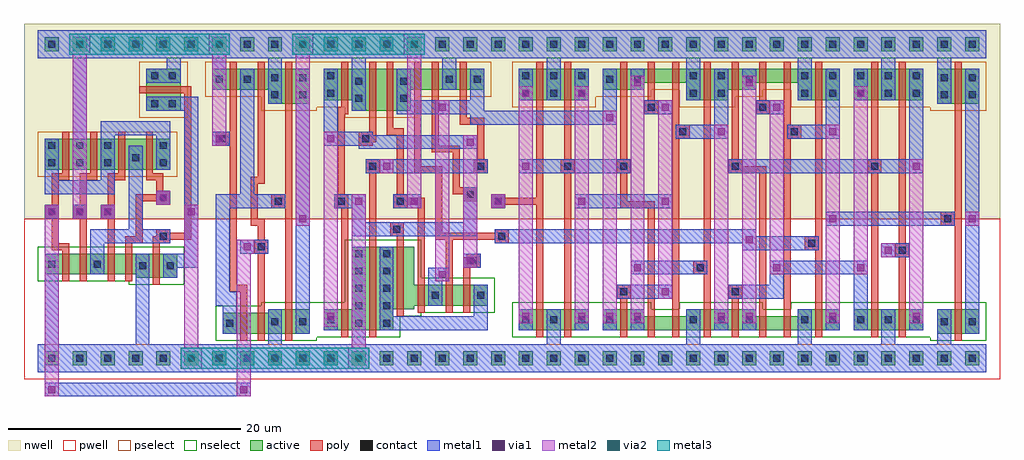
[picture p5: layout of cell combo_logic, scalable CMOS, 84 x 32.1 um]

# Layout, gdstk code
from math import pi, radians
import gdstk
lib = gdstk.Library(unit=1e-6, precision=1e-09)
def R(c, l, rs):  # rectangles x0, y0, x1, y1
    for r in rs: c.add(gdstk.rectangle(r[:2], r[2:], *l))
def A(c, l, x, y, w, h, nx, ny, dx, dy):  # array of equal rectangles
    R(c, l, [(x+i*dx, y+j*dy, x+i*dx+w, y+j*dy+h) for i in range(nx) for j in range(ny)])
contact = (25, 0)
pwell = (41, 0)
nwell = (42, 0)
active = (43, 0)
pselect = (44, 0)
nselect = (45, 0)
poly = (46, 0)
metal1 = (49, 0)
via1 = (50, 0)
metal2 = (51, 0)
via2 = (61, 0)
metal3 = (62, 0)

a22o2_1x = lib.new_cell('a22o2_1x')
A(a22o2_1x, contact, 0.3, -0.3, 0.6, 0.6, 6, 2, 2.4, 27)
A(a22o2_1x, contact, 0.3, 12.3, 0.6, 0.6, 3, 2, 2.4, 4.2)
A(a22o2_1x, contact, 0.3, 18, 0.6, 0.6, 3, 1, 2.4, 0)
R(a22o2_1x, contact, [(8.1,7.65,8.7,8.25), (10.5,7.65,11.1,8.25), (0.3,7.8,0.9,8.4), (4.2,7.8,4.8,8.4), (9.9,10.2,10.5,10.8), (9.9,13.5,10.5,14.1), (9.9,16.5,10.5,17.1), (7.5,16.95,8.1,17.55), (9.9,18,10.5,18.6), (9.15,21.6,9.75,22.2), (10.65,21.6,11.25,22.2), (9.15,24,9.75,24.6), (10.65,24,11.25,24.6)])
A(a22o2_1x, pwell, -0.9, -1.5, 3, 3, 6, 1, 2.4, 0)
R(a22o2_1x, pwell, [(-1.8,-1.8,15,12), (6,5.1,10.8,10.8), (6.6,5.1,12.6,10.8), (8.4,5.1,13.2,10.8), (-1.8,5.4,3,10.8), (-1.2,5.4,4.8,10.8), (0.3,5.4,6.3,10.8), (2.1,5.4,6.9,10.8), (2.7,5.4,8.7,10.8), (4.2,5.4,10.2,10.8), (-1.65,6.15,2.925,10.65), (-0.075,6.15,5.175,10.65), (2.175,6.15,6.75,10.65), (2.25,6.15,6.825,10.65), (3.825,6.15,9.075,10.65), (6.075,6.15,10.65,10.65), (6.15,6.15,10.725,10.65), (8.475,6.15,13.05,10.65)])
A(a22o2_1x, nwell, -1.8, 14.4, 4.8, 6.3, 3, 1, 2.4, 0)
A(a22o2_1x, nwell, -1.2, 14.4, 6, 6.3, 4, 1, 2.4, 0)
A(a22o2_1x, nwell, -0.9, 25.5, 3, 3, 6, 1, 2.4, 0)
R(a22o2_1x, nwell, [(-1.8,12,15,28.8), (5.4,14.4,10.2,20.1), (5.55,14.4,10.125,18.9), (7.8,14.4,12.6,20.7), (-1.65,14.55,2.925,19.05), (0.675,14.55,5.25,19.05), (0.75,14.55,5.325,19.05), (3.075,14.55,7.65,19.05), (3.15,14.55,7.725,19.05), (7.875,14.55,12.45,19.05), (5.475,15.15,10.05,19.65), (6.9,19.5,13.5,24.3), (8.85,19.65,13.35,24.225), (6.9,20.1,13.5,26.1), (6.9,21.9,13.5,26.7), (8.85,21.975,13.35,26.55)])
A(a22o2_1x, active, 0, -0.6, 1.2, 1.2, 6, 2, 2.4, 27)
A(a22o2_1x, active, 0, 16.2, 1.2, 2.7, 3, 1, 2.4, 0)
A(a22o2_1x, active, 0.6, 16.2, 2.4, 2.7, 4, 1, 2.4, 0)
R(a22o2_1x, active, [(7.8,6.9,9,9), (8.4,6.9,10.8,9), (10.2,6.9,11.4,9), (0,7.2,1.2,9), (0.6,7.2,3,9), (2.1,7.2,4.5,9), (3.9,7.2,5.1,9), (4.5,7.2,6.9,9), (6,7.2,8.4,9), (0.15,7.95,1.125,8.85), (1.725,7.95,3.375,8.85), (3.975,7.95,4.95,8.85), (4.05,7.95,5.025,8.85), (5.625,7.95,7.275,8.85), (7.875,7.95,8.85,8.85), (7.95,7.95,8.925,8.85), (10.275,7.95,11.25,8.85), (7.2,16.2,8.4,18.3), (7.35,16.2,8.325,17.1), (9.6,16.2,10.8,18.9), (0.15,16.35,1.125,17.25), (2.475,16.35,3.45,17.25), (2.55,16.35,3.525,17.25), (4.875,16.35,5.85,17.25), (4.95,16.35,5.925,17.25), (9.675,16.35,10.65,17.25), (7.275,16.95,8.25,17.85), (8.7,21.3,11.7,22.5), (10.65,21.45,11.55,22.425), (8.7,21.9,11.7,24.3), (8.7,23.7,11.7,24.9), (10.65,23.775,11.55,24.75)])
A(a22o2_1x, pselect, -0.6, -1.2, 2.4, 2.4, 6, 1, 2.4, 0)
A(a22o2_1x, pselect, -0.6, 15.6, 2.4, 3.9, 3, 1, 2.4, 0)
A(a22o2_1x, pselect, 0, 15.6, 3.6, 3.9, 4, 1, 2.4, 0)
R(a22o2_1x, pselect, [(6.6,15.6,9,18.9), (6.75,15.6,8.925,17.7), (9,15.6,11.4,19.5), (-0.45,15.75,1.725,17.85), (1.875,15.75,4.05,17.85), (1.95,15.75,4.125,17.85), (4.275,15.75,6.45,17.85), (4.35,15.75,6.525,17.85), (9.075,15.75,11.25,17.85), (6.675,16.35,8.85,18.45), (8.1,20.7,12.3,23.1), (10.05,20.85,12.15,23.025), (8.1,21.3,12.3,24.9), (8.1,23.1,12.3,25.5), (10.05,23.175,12.15,25.35)])
A(a22o2_1x, nselect, -0.6, 25.8, 2.4, 2.4, 6, 1, 2.4, 0)
R(a22o2_1x, nselect, [(7.2,6.3,9.6,9.6), (7.8,6.3,11.4,9.6), (9.6,6.3,12,9.6), (-0.6,6.6,1.8,9.6), (0,6.6,3.6,9.6), (1.5,6.6,5.1,9.6), (3.3,6.6,5.7,9.6), (3.9,6.6,7.5,9.6), (5.4,6.6,9,9.6), (-0.45,7.35,1.725,9.45), (1.125,7.35,3.975,9.45), (3.375,7.35,5.55,9.45), (3.45,7.35,5.625,9.45), (5.025,7.35,7.875,9.45), (7.275,7.35,9.45,9.45), (7.35,7.35,9.525,9.45), (9.675,7.35,11.85,9.45)])
A(a22o2_1x, poly, 0, 12, 1.2, 1.2, 3, 1, 2.4, 0)
A(a22o2_1x, poly, 0.6, 15.3, 1.5, 0.6, 3, 1, 2.4, 0)
A(a22o2_1x, poly, 1.5, 15.6, 0.6, 3.9, 4, 1, 2.4, 0)
R(a22o2_1x, poly, [(9.3,6.3,9.9,9.6), (1.5,6.6,2.1,9.6), (3,6.6,3.6,9.6), (5.4,6.6,6,9.6), (6.9,6.6,7.5,9.6), (0.6,9.3,1.2,12.9), (0.6,9.3,2.1,9.9), (3,9.3,3.6,12.9), (5.4,9.3,6,13.05), (6.9,9.3,7.5,10.5), (9.3,9.3,9.9,10.5), (6.9,9.9,8.4,10.5), (7.8,9.9,8.4,14.1), (9.3,9.9,10.35,10.5), (9.6,9.9,10.8,11.1), (9.75,9.9,10.35,10.8), (9.75,10.2,12.6,10.8), (12,10.2,12.6,23.4), (0.3,12.3,1.2,12.9), (0.6,12.3,1.2,15.9), (2.7,12.3,3.6,12.9), (3,12.3,3.6,15.9), (5.1,12.45,6,13.05), (5.4,12.45,6,15.9), (9.6,13.2,10.8,14.4), (7.8,13.5,10.2,14.1), (9.6,13.5,10.5,14.1), (9.6,13.5,10.2,15.9), (8.7,15.3,10.2,15.9), (8.1,22.8,12.3,23.4)])
A(a22o2_1x, metal1, -0.6, -1.2, 4.8, 2.4, 3, 1, 2.4, 0)
A(a22o2_1x, metal1, 0, -0.6, 1.2, 1.2, 6, 1, 2.4, 0)
A(a22o2_1x, metal1, 0, 16.2, 1.2, 2.7, 3, 1, 2.4, 0)
A(a22o2_1x, metal1, 0, 26.4, 1.2, 1.2, 4, 1, 2.4, 0)
R(a22o2_1x, metal1, [(-0.6,-1.2,1.8,1.2), (-0.6,-1.2,4.2,1.2), (6.6,-1.2,9.6,1.2), (6.6,-1.2,9.6,1.2), (7.2,-1.2,11.4,1.2), (9,-1.2,13.8,1.2), (0,-0.6,1.2,0.6), (0,-0.6,1.2,8.85), (7.8,-0.6,9,8.85), (12,-0.6,13.2,0.6), (7.8,6.9,9,9), (10.2,6.9,11.4,9), (0,7.2,1.2,9), (3.9,7.2,5.1,9), (3.9,7.8,5.1,11.1), (10.2,7.8,13.2,9), (12,7.8,13.2,13.2), (3.9,9.9,8.4,11.1), (7.2,9.9,10.65,11.1), (7.2,9.9,8.4,17.4), (9.6,9.9,10.8,11.1), (0,12,1.2,13.2), (0,12,1.2,13.2), (0,12,1.2,13.2), (2.4,12,3.6,13.2), (2.4,12,3.6,13.2), (2.4,12,3.6,13.2), (4.8,12,6,13.2), (4.8,12,6,13.2), (4.8,12,6,13.2), (12,12,13.2,13.2), (12,12,13.2,13.2), (12,12,13.2,22.5), (9.6,13.2,10.8,14.4), (9.6,13.2,10.8,14.4), (9.6,13.2,10.8,14.4), (0,14.1,6,15.3), (0,14.1,1.2,17.4), (4.8,14.1,6,17.4), (4.8,16.2,6,20.4), (7.2,16.2,8.4,18.3), (9.6,16.2,10.8,18.9), (9.6,16.2,10.8,20.4), (2.4,16.35,3.6,27.6), (4.8,19.2,10.8,20.4), (8.7,21.3,11.7,22.5), (10.5,21.3,13.2,22.5), (8.7,23.7,11.7,24.9), (10.5,23.7,11.7,27.6), (-0.6,25.8,1.8,28.2), (-0.6,25.8,4.2,28.2), (1.8,25.8,9,28.2), (6.6,25.8,11.4,28.2), (9,25.8,13.8,28.2), (9,25.8,12.3,28.2), (0,26.4,1.2,27.6), (4.8,26.4,8.4,27.6), (7.2,26.4,8.4,27.6), (9.6,26.4,10.8,27.6), (9.6,26.4,10.8,27.6), (12,26.4,13.2,27.6)])
A(a22o2_1x, via1, 0.3, 12.3, 0.6, 0.6, 3, 1, 2.4, 0)
R(a22o2_1x, via1, [(12.3,12.3,12.9,12.9), (9.9,13.5,10.5,14.1)])
A(a22o2_1x, metal2, 0, 12, 1.2, 1.2, 3, 1, 2.4, 0)
R(a22o2_1x, metal2, [(12,12,13.2,13.2), (9.6,13.2,10.8,14.4)])

and2_1x = lib.new_cell('and2_1x')
A(and2_1x, contact, 0.3, -0.3, 0.6, 0.6, 4, 2, 2.4, 27)
R(and2_1x, contact, [(6.6,2.7,7.2,3.3), (0.3,2.85,0.9,3.45), (2.7,2.85,3.3,3.45), (3.9,9.3,4.5,9.9), (2.4,13.2,3,13.8), (7.2,18.6,7.8,19.2), (0.3,22.35,0.9,22.95), (2.7,22.35,3.3,22.95), (5.1,23.7,5.7,24.3), (7.5,23.7,8.1,24.3), (0.3,23.85,0.9,24.45), (2.7,23.85,3.3,24.45)])
A(and2_1x, pwell, -0.9, -1.5, 3, 3, 4, 1, 2.4, 0)
R(and2_1x, pwell, [(-1.8,-1.8,10.2,12), (-1.8,0.3,3,6), (-1.2,0.3,4.8,6), (0.6,0.3,5.4,6), (1.2,0.3,7.2,5.7), (2.7,0.3,8.7,5.7), (4.5,0.3,9.3,5.7), (2.325,0.75,7.575,5.25), (0.75,0.9,5.325,5.4), (4.575,0.9,9.15,5.4), (-1.65,1.35,2.925,5.85), (0.675,1.425,5.25,5.925)])
A(and2_1x, nwell, -0.9, 25.5, 3, 3, 4, 1, 2.4, 0)
R(and2_1x, nwell, [(-1.8,12,10.2,28.8), (-1.8,20.1,3,26.7), (-1.2,20.1,4.8,26.7), (0.6,20.1,5.4,26.7), (0.675,20.1,5.25,24.6), (-1.65,20.55,2.925,25.05), (0.75,21.3,5.325,25.8), (1.2,21.3,7.2,26.7), (3,21.3,7.8,26.7), (3.075,21.3,7.65,25.8), (3.15,21.3,7.65,26.7), (3.225,21.3,7.725,26.7), (3.6,21.3,9.6,26.7), (5.4,21.3,10.2,26.7), (3.15,22.2,7.725,26.7), (5.475,22.2,10.05,26.7)])
A(and2_1x, active, 0, -0.6, 1.2, 1.2, 4, 2, 2.4, 27)
R(and2_1x, active, [(0,2.1,1.2,4.2), (0.6,2.1,3,4.2), (2.4,2.1,3.6,4.2), (3,2.1,5.4,3.9), (4.5,2.1,6.9,3.9), (6.3,2.1,7.5,3.9), (4.125,2.55,5.775,3.45), (2.55,2.7,3.525,3.6), (6.375,2.7,7.35,3.6), (0.15,3.15,1.125,4.05), (2.475,3.225,3.45,4.125), (0,21.9,1.2,24.9), (0.6,21.9,3,24.9), (2.4,21.9,3.6,24.9), (2.475,21.9,3.45,22.8), (0.15,22.35,1.125,23.25), (2.55,23.1,3.525,24), (3,23.1,5.4,24.9), (4.8,23.1,6,24.9), (4.875,23.1,5.85,24), (4.95,23.1,5.85,24.9), (5.025,23.1,5.925,24.9), (5.4,23.1,7.8,24.9), (7.2,23.1,8.4,24.9), (4.95,24,5.925,24.9), (7.275,24,8.25,24.9)])
A(and2_1x, pselect, -0.6, -1.2, 2.4, 2.4, 4, 1, 2.4, 0)
R(and2_1x, pselect, [(-0.6,21.3,1.8,25.5), (0,21.3,3.6,25.5), (1.8,21.3,4.2,25.5), (1.875,21.3,4.05,23.4), (-0.45,21.75,1.725,23.85), (1.95,22.5,4.125,24.6), (2.4,22.5,6,25.5), (4.2,22.5,6.6,25.5), (4.275,22.5,6.45,24.6), (4.35,22.5,6.45,25.5), (4.425,22.5,6.525,25.5), (4.8,22.5,8.4,25.5), (6.6,22.5,9,25.5), (4.35,23.4,6.525,25.5), (6.675,23.4,8.85,25.5)])
A(and2_1x, nselect, -0.6, 25.8, 2.4, 2.4, 4, 1, 2.4, 0)
R(and2_1x, nselect, [(-0.6,1.5,1.8,4.8), (0,1.5,3.6,4.8), (1.8,1.5,4.2,4.8), (2.4,1.5,6,4.5), (3.9,1.5,7.5,4.5), (5.7,1.5,8.1,4.5), (3.525,1.95,6.375,4.05), (1.95,2.1,4.125,4.2), (5.775,2.1,7.95,4.2), (-0.45,2.55,1.725,4.65), (1.875,2.625,4.05,4.725)])
R(and2_1x, poly, [(1.5,1.5,2.1,4.8), (3.9,1.5,4.5,4.5), (5.4,1.5,6,4.5), (3.9,4.2,4.5,9.9), (5.4,4.2,6,6.3), (1.5,4.5,2.1,13.8), (5.4,5.7,6.9,6.3), (6.3,5.7,6.9,19.2), (3.6,9,4.8,10.2), (3.9,9.3,4.5,9.9), (3.9,9.3,4.5,12), (3.9,11.4,5.1,12), (4.5,11.4,5.1,15.6), (2.1,12.9,3.3,14.1), (1.5,13.2,2.1,21.6), (1.5,13.2,3,13.8), (3.9,15,4.5,22.8), (3.9,15,5.1,15.6), (6.9,18.3,8.1,19.5), (6.3,18.6,6.9,22.8), (6.3,18.6,7.8,19.2), (1.5,21.3,2.1,25.5), (3.9,22.5,4.5,25.5), (6.3,22.5,6.9,25.5)])
A(and2_1x, metal1, -0.6, -1.2, 4.8, 2.4, 3, 1, 2.4, 0)
A(and2_1x, metal1, 0, -0.6, 1.2, 1.2, 4, 2, 2.4, 27)
R(and2_1x, metal1, [(-0.6,-1.2,1.8,1.2), (-0.6,-1.2,4.2,1.2), (2.4,-0.6,3.6,3.3), (0,2.1,1.2,4.2), (2.4,2.1,3.6,4.2), (6.3,2.1,7.5,3.9), (6.3,2.7,7.5,5.7), (0,3,1.2,12.6), (6.3,4.5,8.1,5.7), (6.9,4.5,8.1,14.1), (3.6,9,4.8,10.2), (3.6,9,6,10.2), (4.8,9,6,10.2), (0,11.4,1.2,12.6), (0,11.4,1.2,23.1), (2.1,12.9,3.3,14.1), (2.1,12.9,6,14.1), (4.8,12.9,6,24.3), (4.8,12.9,8.1,14.1), (6.9,18.3,8.1,19.5), (6.9,18.3,8.1,19.5), (7.2,18.3,8.4,19.5), (0,21.9,1.2,24.9), (2.4,21.9,3.6,24.9), (4.8,23.1,6,24.9), (7.2,23.1,8.4,24.9), (2.4,23.7,3.6,27.6), (7.2,23.7,8.4,27.6), (-0.6,25.8,1.8,28.2), (-0.6,25.8,4.2,28.2), (1.8,25.8,9,28.2), (0,26.4,1.2,27.6), (4.8,26.4,8.4,27.6), (7.2,26.4,8.4,27.6)])
R(and2_1x, via1, [(5.1,9.3,5.7,9.9), (0.3,11.7,0.9,12.3), (7.5,18.6,8.1,19.2)])
R(and2_1x, metal2, [(4.8,9,6,10.2), (0,11.4,1.2,12.6), (7.2,18.3,8.4,19.5)])

flopenr_c_1x = lib.new_cell('flopenr_c_1x')
A(flopenr_c_1x, contact, 0.3, -0.3, 0.6, 0.6, 23, 1, 2.4, 0)
A(flopenr_c_1x, contact, 2.7, 2.7, 0.6, 0.6, 1, 5, 0, 1.5)
A(flopenr_c_1x, contact, 5.1, 2.7, 0.6, 0.6, 1, 5, 0, 1.5)
A(flopenr_c_1x, contact, 17.1, 3, 0.6, 0.6, 5, 1, 2.4, 0)
A(flopenr_c_1x, contact, 31.5, 3, 0.6, 0.6, 3, 1, 2.4, 0)
A(flopenr_c_1x, contact, 41.1, 3, 0.6, 0.6, 5, 2, 2.4, 19.5)
A(flopenr_c_1x, contact, 17.1, 22.5, 0.6, 0.6, 3, 2, 2.4, 1.5)
A(flopenr_c_1x, contact, 41.1, 24, 0.6, 0.6, 5, 1, 2.4, 0)
A(flopenr_c_1x, contact, 0.3, 26.7, 0.6, 0.6, 18, 1, 2.4, 0)
A(flopenr_c_1x, contact, 41.1, 26.7, 0.6, 0.6, 6, 1, 2.4, 0)
R(flopenr_c_1x, contact, [(53.1,-0.3,53.7,0.3), (55.5,-0.3,56.1,0.3), (53.1,2.85,53.7,3.45), (55.5,2.85,56.1,3.45), (0.3,3,0.9,3.6), (9.3,5.1,9.9,5.7), (13.2,5.1,13.8,5.7), (25.5,5.4,26.1,6), (35.1,5.4,35.7,6), (32.1,7.5,32.7,8.1), (12.6,8.1,13.2,8.7), (49.5,9,50.1,9.6), (41.7,9.6,42.3,10.2), (15,10.2,15.6,10.8), (6,10.8,6.6,11.4), (53.4,11.7,54,12.3), (1.2,13.2,1.8,13.8), (6.3,13.2,6.9,13.8), (14.7,13.2,15.3,13.8), (12.3,13.8,12.9,14.4), (3.9,16.2,4.5,16.8), (13.2,16.2,13.8,16.8), (20.7,16.2,21.3,16.8), (25.5,16.2,26.1,16.8), (35.1,16.2,35.7,16.8), (47.1,16.2,47.7,16.8), (3.3,18.6,3.9,19.2), (30.6,19.2,31.2,19.8), (40.2,19.2,40.8,19.8), (27.9,21.3,28.5,21.9), (37.5,21.3,38.1,21.9), (2.7,22.05,3.3,22.65), (6.6,22.05,7.2,22.65), (53.1,22.35,53.7,22.95), (55.5,22.35,56.1,22.95), (0.3,22.5,0.9,23.1), (31.5,22.5,32.1,23.1), (33.9,22.5,34.5,23.1), (2.7,23.55,3.3,24.15), (6.6,23.55,7.2,24.15), (10.5,23.7,11.1,24.3), (12.9,23.7,13.5,24.3), (24.3,23.7,24.9,24.3), (26.7,23.7,27.3,24.3), (36.3,23.7,36.9,24.3), (53.1,23.85,53.7,24.45), (55.5,23.85,56.1,24.45), (0.3,24,0.9,24.6), (31.5,24,32.1,24.6), (33.9,24,34.5,24.6), (53.1,26.7,53.7,27.3), (55.5,26.7,56.1,27.3)])
A(flopenr_c_1x, pwell, -0.9, -1.5, 3, 3, 23, 1, 2.4, 0)
A(flopenr_c_1x, pwell, 15, 0.6, 4.8, 5.4, 5, 1, 2.4, 0)
A(flopenr_c_1x, pwell, 29.4, 0.6, 4.8, 5.4, 3, 1, 2.4, 0)
A(flopenr_c_1x, pwell, 39, 0.6, 4.8, 5.4, 5, 1, 2.4, 0)
A(flopenr_c_1x, pwell, 17.475, 1.05, 4.575, 4.5, 3, 1, 7.2, 0)
R(flopenr_c_1x, pwell, [(-1.8,-1.8,58.2,12), (51.9,-1.5,54.9,1.5), (54.3,-1.5,57.3,1.5), (51,0.3,55.8,6), (51.6,0.3,57.6,6), (53.4,0.3,58.2,6), (-1.8,0.6,3,6), (-1.2,0.6,4.8,6), (0.6,0.6,5.4,11.4), (1.2,0.6,7.2,11.4), (3,0.6,7.8,11.4), (15.6,0.6,21.6,6), (17.025,0.6,22.575,6), (18,0.6,24,6), (22.8,0.6,28.8,6), (25.2,0.6,31.2,5.4), (27.3,0.6,33.3,5.4), (30,0.6,36,6), (32.4,0.6,38.4,6), (34.8,0.6,40.8,5.4), (36.9,0.6,42.9,5.4), (39.6,0.6,45.6,6), (44.4,0.6,50.4,6), (46.8,0.6,52.8,6), (0.675,0.75,5.325,5.25), (15.15,0.75,19.725,5.25), (24.675,0.75,29.325,5.25), (26.925,0.75,31.575,5.25), (29.175,0.75,34.05,5.25), (34.275,0.75,38.925,5.25), (36.525,0.75,41.175,5.25), (46.275,0.75,50.925,5.25), (48.675,0.75,53.25,5.25), (53.475,0.75,58.05,5.25), (38.775,0.9,43.65,5.4), (-1.65,1.05,2.925,5.55), (31.875,1.05,36.525,5.55), (34.275,1.05,38.85,5.55), (43.95,1.05,48.525,5.55), (19.875,1.35,24.45,5.85), (22.35,1.35,26.925,5.85), (39.15,1.35,43.725,5.85), (41.475,1.35,46.05,5.85), (46.275,1.35,50.85,5.85), (51.15,1.35,55.725,5.85), (29.55,1.5,34.125,6), (3.6,2.4,9.6,11.4), (5.4,2.7,11.4,8.1), (7.2,2.7,12,8.1), (7.8,2.7,13.8,8.1), (9.3,2.7,15.3,8.1), (11.1,2.7,15.9,8.1), (7.275,3,11.85,7.5), (7.275,3,11.925,7.5), (5.025,3.3,9.975,7.8), (7.35,3.45,11.925,7.95), (8.925,3.45,14.175,7.95), (11.175,3.45,15.75,7.95), (0.75,3.75,5.325,8.25), (3.075,4.05,7.65,8.55), (3.075,4.05,7.725,8.55)])
A(flopenr_c_1x, nwell, 15, 20.4, 4.8, 6.3, 3, 1, 2.4, 0)
A(flopenr_c_1x, nwell, 39, 20.4, 4.8, 6.3, 5, 1, 2.4, 0)
A(flopenr_c_1x, nwell, -0.9, 25.5, 3, 3, 18, 1, 2.4, 0)
A(flopenr_c_1x, nwell, 39.9, 25.5, 3, 3, 6, 1, 2.4, 0)
R(flopenr_c_1x, nwell, [(-1.8,12,58.2,28.8), (0.6,19.5,5.4,26.7), (1.2,19.5,7.2,26.7), (2.7,19.5,8.7,26.7), (4.5,19.5,9.3,26.7), (51,20.1,55.8,26.7), (51.15,20.1,55.725,24.6), (51.6,20.1,57.6,26.7), (53.4,20.1,58.2,26.7), (-1.8,20.4,3,26.7), (-1.2,20.4,4.8,26.7), (15.6,20.4,21.6,26.7), (16.575,20.4,23.025,26.7), (18,20.4,24,26.7), (29.4,20.4,34.2,26.7), (30,20.4,36,26.7), (31.8,20.4,36.6,26.7), (39.6,20.4,45.6,26.7), (44.4,20.4,50.4,26.7), (46.8,20.4,52.8,26.7), (43.95,20.85,48.525,25.35), (2.325,21,7.575,25.5), (4.575,21,9.15,25.5), (53.475,21,58.05,25.5), (0.675,21.15,5.325,25.65), (0.75,21.15,5.325,25.65), (41.475,21.15,46.05,25.65), (46.275,21.15,50.85,25.65), (48.675,21.15,53.25,25.65), (5.1,21.3,11.1,26.7), (6.6,21.3,12.6,26.7), (8.4,21.3,13.2,26.7), (9,21.3,15,26.7), (10.8,21.3,15.6,26.7), (22.2,21.3,27,26.7), (22.8,21.3,28.8,26.7), (24.6,21.3,29.4,26.7), (31.875,21.3,36.525,25.8), (32.4,21.3,38.4,26.7), (34.2,21.3,39,26.7), (-1.65,21.45,2.925,25.95), (19.875,21.45,24.45,25.95), (4.575,21.6,9.225,26.1), (6.225,21.75,11.475,26.25), (10.875,21.75,15.45,26.25), (15.15,21.75,19.725,26.25), (17.475,21.75,22.05,26.25), (31.875,21.75,36.45,26.25), (34.275,21.75,38.85,26.25), (25.2,21.9,31.2,26.7), (27.3,21.9,33.3,26.7), (29.175,21.9,34.125,26.4), (31.95,21.9,36.525,26.4), (34.8,21.9,40.8,26.7), (36.9,21.9,42.9,26.7), (38.775,21.9,43.725,26.4), (8.475,22.05,13.05,26.55), (8.55,22.05,13.125,26.55), (24.675,22.05,29.25,26.55), (26.925,22.05,31.575,26.55), (29.175,22.05,34.05,26.55), (34.275,22.05,38.925,26.55), (36.525,22.05,41.175,26.55), (38.775,22.05,43.65,26.55), (46.275,22.05,50.925,26.55), (22.35,22.2,26.925,26.7), (24.675,22.2,29.325,26.7), (51.9,25.5,54.9,28.5), (54.3,25.5,57.3,28.5)])
A(flopenr_c_1x, active, 0, -0.6, 1.2, 1.2, 23, 1, 2.4, 0)
A(flopenr_c_1x, active, 16.8, 2.4, 1.2, 1.8, 5, 1, 2.4, 0)
A(flopenr_c_1x, active, 31.2, 2.4, 1.2, 1.8, 3, 1, 2.4, 0)
A(flopenr_c_1x, active, 40.8, 2.4, 1.2, 1.8, 5, 1, 2.4, 0)
A(flopenr_c_1x, active, 19.275, 2.85, 0.975, 0.9, 3, 1, 7.2, 0)
A(flopenr_c_1x, active, 16.8, 22.2, 1.2, 2.7, 3, 1, 2.4, 0)
A(flopenr_c_1x, active, 40.8, 22.2, 1.2, 2.7, 5, 1, 2.4, 0)
A(flopenr_c_1x, active, 0, 26.4, 1.2, 1.2, 18, 1, 2.4, 0)
A(flopenr_c_1x, active, 40.8, 26.4, 1.2, 1.2, 6, 1, 2.4, 0)
R(flopenr_c_1x, active, [(52.8,-0.6,54,0.6), (55.2,-0.6,56.4,0.6), (52.8,2.1,54,4.2), (53.4,2.1,55.8,4.2), (55.2,2.1,56.4,4.2), (0,2.4,1.2,4.2), (0.6,2.4,3,4.2), (2.4,2.4,3.6,9.6), (3,2.4,5.4,9.6), (4.8,2.4,6,9.6), (17.4,2.4,19.8,4.2), (18.825,2.4,20.775,4.2), (19.8,2.4,22.2,4.2), (24.6,2.4,27,4.2), (27,2.4,29.4,3.6), (29.1,2.4,31.5,3.6), (31.8,2.4,34.2,4.2), (34.2,2.4,36.6,4.2), (36.6,2.4,39,3.6), (38.7,2.4,41.1,3.6), (41.4,2.4,43.8,4.2), (46.2,2.4,48.6,4.2), (48.6,2.4,51,4.2), (2.475,2.55,3.525,3.45), (16.95,2.55,17.925,3.45), (26.475,2.55,27.525,3.45), (28.725,2.55,29.775,3.45), (30.975,2.55,32.25,3.45), (36.075,2.55,37.125,3.45), (38.325,2.55,39.375,3.45), (48.075,2.55,49.125,3.45), (50.475,2.55,51.45,3.45), (55.275,2.55,56.25,3.45), (40.575,2.7,41.85,3.6), (0.15,2.85,1.125,3.75), (33.675,2.85,34.725,3.75), (36.075,2.85,37.05,3.75), (45.75,2.85,46.725,3.75), (21.675,3.15,22.65,4.05), (24.15,3.15,25.125,4.05), (40.95,3.15,41.925,4.05), (43.275,3.15,44.25,4.05), (48.075,3.15,49.05,4.05), (52.95,3.15,53.925,4.05), (31.35,3.3,32.325,4.2), (5.4,4.2,7.8,9.6), (7.2,4.5,9.6,6.3), (9,4.5,10.2,6.3), (9.6,4.5,12,6.3), (11.1,4.5,13.5,6.3), (12.9,4.5,14.1,6.3), (9.075,4.8,10.05,5.7), (9.075,4.8,10.125,5.7), (6.825,5.1,8.175,6), (9.15,5.25,10.125,6.15), (10.725,5.25,12.375,6.15), (12.975,5.25,13.95,6.15), (2.55,5.55,3.525,6.45), (4.875,5.85,5.85,6.75), (4.875,5.85,5.925,6.75), (2.4,21.3,3.6,24.9), (3,21.3,5.4,24.9), (4.5,21.3,6.9,24.9), (6.3,21.3,7.5,24.9), (52.8,21.9,54,24.9), (52.95,21.9,53.925,22.8), (53.4,21.9,55.8,24.9), (55.2,21.9,56.4,24.9), (0,22.2,1.2,24.9), (0.6,22.2,3,24.9), (17.4,22.2,19.8,24.9), (18.375,22.2,21.225,24.9), (19.8,22.2,22.2,24.9), (31.2,22.2,32.4,24.9), (31.8,22.2,34.2,24.9), (33.6,22.2,34.8,24.9), (41.4,22.2,43.8,24.9), (46.2,22.2,48.6,24.9), (48.6,22.2,51,24.9), (45.75,22.65,46.725,23.55), (4.125,22.8,5.775,23.7), (6.375,22.8,7.35,23.7), (55.275,22.8,56.25,23.7), (2.475,22.95,3.525,23.85), (2.55,22.95,3.525,23.85), (43.275,22.95,44.25,23.85), (48.075,22.95,49.05,23.85), (50.475,22.95,51.45,23.85), (6.9,23.1,9.3,24.9), (8.4,23.1,10.8,24.9), (10.2,23.1,11.4,24.9), (10.8,23.1,13.2,24.9), (12.6,23.1,13.8,24.9), (24,23.1,25.2,24.9), (24.6,23.1,27,24.9), (26.4,23.1,27.6,24.9), (33.675,23.1,34.725,24), (34.2,23.1,36.6,24.9), (36,23.1,37.2,24.9), (0.15,23.25,1.125,24.15), (21.675,23.25,22.65,24.15), (6.375,23.4,7.425,24.3), (8.025,23.55,9.675,24.45), (12.675,23.55,13.65,24.45), (16.95,23.55,17.925,24.45), (19.275,23.55,20.25,24.45), (33.675,23.55,34.65,24.45), (36.075,23.55,37.05,24.45), (27,23.7,29.4,24.9), (29.1,23.7,31.5,24.9), (30.975,23.7,32.325,24.6), (33.75,23.7,34.725,24.6), (36.6,23.7,39,24.9), (38.7,23.7,41.1,24.9), (40.575,23.7,41.925,24.6), (10.275,23.85,11.25,24.75), (10.35,23.85,11.325,24.75), (26.475,23.85,27.45,24.75), (28.725,23.85,29.775,24.75), (30.975,23.85,32.25,24.75), (36.075,23.85,37.125,24.75), (38.325,23.85,39.375,24.75), (40.575,23.85,41.85,24.75), (48.075,23.85,49.125,24.75), (24.15,24,25.125,24.9), (26.475,24,27.525,24.9), (52.8,26.4,54,27.6), (55.2,26.4,56.4,27.6)])
A(flopenr_c_1x, pselect, -0.6, -1.2, 2.4, 2.4, 23, 1, 2.4, 0)
A(flopenr_c_1x, pselect, 16.2, 21.6, 2.4, 3.9, 3, 1, 2.4, 0)
A(flopenr_c_1x, pselect, 40.2, 21.6, 2.4, 3.9, 5, 1, 2.4, 0)
R(flopenr_c_1x, pselect, [(52.2,-1.2,54.6,1.2), (54.6,-1.2,57,1.2), (1.8,20.7,4.2,25.5), (2.4,20.7,6,25.5), (3.9,20.7,7.5,25.5), (5.7,20.7,8.1,25.5), (52.2,21.3,54.6,25.5), (52.35,21.3,54.525,23.4), (52.8,21.3,56.4,25.5), (54.6,21.3,57,25.5), (-0.6,21.6,1.8,25.5), (0,21.6,3.6,25.5), (16.8,21.6,20.4,25.5), (17.775,21.6,21.825,25.5), (19.2,21.6,22.8,25.5), (30.6,21.6,33,25.5), (31.2,21.6,34.8,25.5), (33,21.6,35.4,25.5), (40.8,21.6,44.4,25.5), (45.6,21.6,49.2,25.5), (48,21.6,51.6,25.5), (45.15,22.05,47.325,24.15), (3.525,22.2,6.375,24.3), (5.775,22.2,7.95,24.3), (54.675,22.2,56.85,24.3), (1.875,22.35,4.125,24.45), (1.95,22.35,4.125,24.45), (42.675,22.35,44.85,24.45), (47.475,22.35,49.65,24.45), (49.875,22.35,52.05,24.45), (6.3,22.5,9.9,25.5), (7.8,22.5,11.4,25.5), (9.6,22.5,12,25.5), (10.2,22.5,13.8,25.5), (12,22.5,14.4,25.5), (23.4,22.5,25.8,25.5), (24,22.5,27.6,25.5), (25.8,22.5,28.2,25.5), (33.075,22.5,35.325,24.6), (33.6,22.5,37.2,25.5), (35.4,22.5,37.8,25.5), (-0.45,22.65,1.725,24.75), (21.075,22.65,23.25,24.75), (5.775,22.8,8.025,24.9), (7.425,22.95,10.275,25.05), (12.075,22.95,14.25,25.05), (16.35,22.95,18.525,25.05), (18.675,22.95,20.85,25.05), (33.075,22.95,35.25,25.05), (35.475,22.95,37.65,25.05), (26.4,23.1,30,25.5), (28.5,23.1,32.1,25.5), (30.375,23.1,32.925,25.2), (33.15,23.1,35.325,25.2), (36,23.1,39.6,25.5), (38.1,23.1,41.7,25.5), (39.975,23.1,42.525,25.2), (9.675,23.25,11.85,25.35), (9.75,23.25,11.925,25.35), (25.875,23.25,28.05,25.35), (28.125,23.25,30.375,25.35), (30.375,23.25,32.85,25.35), (35.475,23.25,37.725,25.35), (37.725,23.25,39.975,25.35), (39.975,23.25,42.45,25.35), (47.475,23.25,49.725,25.35), (23.55,23.4,25.725,25.5), (25.875,23.4,28.125,25.5)])
A(flopenr_c_1x, nselect, 16.2, 1.8, 2.4, 3, 5, 1, 2.4, 0)
A(flopenr_c_1x, nselect, 30.6, 1.8, 2.4, 3, 3, 1, 2.4, 0)
A(flopenr_c_1x, nselect, 40.2, 1.8, 2.4, 3, 5, 1, 2.4, 0)
A(flopenr_c_1x, nselect, 18.675, 2.25, 2.175, 2.1, 3, 1, 7.2, 0)
A(flopenr_c_1x, nselect, -0.6, 25.8, 2.4, 2.4, 18, 1, 2.4, 0)
A(flopenr_c_1x, nselect, 40.2, 25.8, 2.4, 2.4, 6, 1, 2.4, 0)
R(flopenr_c_1x, nselect, [(52.2,1.5,54.6,4.8), (52.8,1.5,56.4,4.8), (54.6,1.5,57,4.8), (-0.6,1.8,1.8,4.8), (0,1.8,3.6,4.8), (1.8,1.8,4.2,10.2), (2.4,1.8,6,10.2), (4.2,1.8,6.6,10.2), (16.8,1.8,20.4,4.8), (18.225,1.8,21.375,4.8), (19.2,1.8,22.8,4.8), (24,1.8,27.6,4.8), (26.4,1.8,30,4.2), (28.5,1.8,32.1,4.2), (31.2,1.8,34.8,4.8), (33.6,1.8,37.2,4.8), (36,1.8,39.6,4.2), (38.1,1.8,41.7,4.2), (40.8,1.8,44.4,4.8), (45.6,1.8,49.2,4.8), (48,1.8,51.6,4.8), (1.875,1.95,4.125,4.05), (16.35,1.95,18.525,4.05), (25.875,1.95,28.125,4.05), (28.125,1.95,30.375,4.05), (30.375,1.95,32.85,4.05), (35.475,1.95,37.725,4.05), (37.725,1.95,39.975,4.05), (47.475,1.95,49.725,4.05), (49.875,1.95,52.05,4.05), (54.675,1.95,56.85,4.05), (39.975,2.1,42.45,4.2), (-0.45,2.25,1.725,4.35), (33.075,2.25,35.325,4.35), (35.475,2.25,37.65,4.35), (45.15,2.25,47.325,4.35), (21.075,2.55,23.25,4.65), (23.55,2.55,25.725,4.65), (40.35,2.55,42.525,4.65), (42.675,2.55,44.85,4.65), (47.475,2.55,49.65,4.65), (52.35,2.55,54.525,4.65), (30.75,2.7,32.925,4.8), (4.8,3.6,8.4,10.2), (6.6,3.9,10.2,6.9), (8.4,3.9,10.8,6.9), (9,3.9,12.6,6.9), (10.5,3.9,14.1,6.9), (12.3,3.9,14.7,6.9), (8.475,4.2,10.65,6.3), (8.475,4.2,10.725,6.3), (6.225,4.5,8.775,6.6), (8.55,4.65,10.725,6.75), (10.125,4.65,12.975,6.75), (12.375,4.65,14.55,6.75), (1.95,4.95,4.125,7.05), (4.275,5.25,6.45,7.35), (4.275,5.25,6.525,7.35), (52.2,25.8,54.6,28.2), (54.6,25.8,57,28.2)])
R(flopenr_c_1x, poly, [(54.3,1.5,54.9,4.8), (1.5,1.8,2.1,4.8), (3.9,1.8,4.5,10.2), (18.3,1.8,18.9,4.8), (20.7,1.8,21.3,4.8), (25.5,1.8,26.1,4.8), (27.9,1.8,28.5,4.2), (30,1.8,30.6,4.2), (32.7,1.8,33.3,4.8), (35.1,1.8,35.7,4.8), (37.5,1.8,38.1,4.2), (39.6,1.8,40.2,4.2), (42.3,1.8,42.9,4.8), (47.1,1.8,47.7,4.8), (49.5,1.8,50.1,4.8), (6.3,3.6,6.9,10.2), (8.1,3.9,8.7,6.9), (10.5,3.9,11.1,6.9), (12,3.9,12.6,6.9), (27.9,3.9,28.5,13.5), (30,3.9,30.6,19.8), (37.5,3.9,38.1,16.5), (39.6,3.9,40.2,19.8), (1.5,4.5,2.1,13.8), (18.3,4.5,18.9,13.8), (20.7,4.5,21.3,16.8), (25.5,4.5,26.1,6), (32.7,4.5,33.3,8.1), (35.1,4.5,35.7,6), (42.3,4.5,42.9,10.2), (47.1,4.5,47.7,16.8), (49.5,4.5,50.1,9.6), (54.3,4.5,54.9,12.3), (25.2,5.1,26.4,6.3), (34.8,5.1,36,6.3), (8.1,6.6,8.7,13.8), (10.5,6.6,11.1,10.8), (12,6.6,12.6,8.7), (31.8,7.2,33,8.4), (32.1,7.5,33.3,8.1), (32.7,7.5,33.3,21.9), (12.3,7.8,13.5,9), (12,8.1,13.2,8.7), (49.2,8.7,50.4,9.9), (49.5,9,50.1,21.9), (41.4,9.3,42.6,10.5), (41.7,9.6,42.9,10.2), (42.3,9.6,42.9,21.9), (3.9,9.9,4.5,16.8), (6.3,9.9,6.9,11.4), (14.7,9.9,15.9,11.1), (9.6,10.2,10.2,16.5), (9.6,10.2,11.1,10.8), (10.5,10.2,15.6,10.8), (5.7,10.5,6.9,11.7), (6,10.8,6.9,11.4), (53.1,11.4,54.3,12.6), (53.4,11.7,54.9,12.3), (54.3,11.7,54.9,21.6), (0.9,12.9,2.1,14.1), (6,12.9,7.2,14.1), (14.4,12.9,15.6,14.1), (25.5,12.9,28.5,13.5), (25.5,12.9,26.1,16.8), (25.5,12.9,26.1,22.8), (1.2,13.2,2.1,13.8), (1.2,13.2,1.8,21.6), (6.3,13.2,6.9,19.8), (6.3,13.2,8.7,13.8), (14.7,13.2,18.9,13.8), (18.3,13.2,18.9,21.9), (12,13.5,13.2,14.7), (12.3,13.8,12.9,14.7), (11.1,14.1,11.7,18.3), (11.1,14.1,12.9,14.7), (3.6,15.9,4.8,17.1), (7.8,15.9,10.2,16.5), (7.8,15.9,8.4,22.8), (12.9,15.9,14.1,17.1), (20.4,15.9,21.6,17.1), (25.2,15.9,26.4,17.1), (34.8,15.9,36,17.1), (35.1,15.9,38.1,16.5), (35.1,15.9,35.7,16.8), (46.8,15.9,48,17.1), (13.2,16.2,13.8,20.7), (20.7,16.2,21.3,21.9), (35.1,16.2,35.7,22.8), (47.1,16.2,47.7,21.9), (9.3,17.7,11.7,18.3), (9.3,17.7,9.9,22.8), (3,18.3,4.2,19.5), (3.3,18.6,4.5,19.2), (3.9,18.6,4.5,21), (30.3,18.9,31.5,20.1), (39.9,18.9,41.1,20.1), (5.4,19.2,6,21), (5.4,19.2,6.9,19.8), (30,19.2,30.6,23.4), (30,19.2,31.2,19.8), (39.6,19.2,40.2,23.4), (39.6,19.2,40.8,19.8), (11.7,20.1,13.8,20.7), (11.7,20.1,12.3,22.8), (3.9,20.7,4.5,25.5), (5.4,20.7,6,25.5), (1.2,21,2.1,21.6), (1.5,21,2.1,21.9), (27.6,21,28.8,22.2), (37.2,21,38.4,22.2), (27.9,21.3,28.5,23.4), (37.5,21.3,38.1,23.4), (54.3,21.3,54.9,25.5), (1.5,21.6,2.1,25.5), (18.3,21.6,18.9,25.5), (20.7,21.6,21.3,25.5), (32.7,21.6,33.3,25.5), (42.3,21.6,42.9,25.5), (47.1,21.6,47.7,25.5), (49.5,21.6,50.1,25.5), (7.8,22.5,8.4,25.5), (9.3,22.5,9.9,25.5), (11.7,22.5,12.3,25.5), (25.5,22.5,26.1,25.5), (35.1,22.5,35.7,25.5), (27.9,23.1,28.5,25.5), (30,23.1,30.6,25.5), (37.5,23.1,38.1,25.5), (39.6,23.1,40.2,25.5)])
A(flopenr_c_1x, metal1, -0.6, -1.2, 4.8, 2.4, 18, 1, 2.4, 0)
A(flopenr_c_1x, metal1, 40.2, -1.2, 4.8, 2.4, 4, 2, 2.4, 27)
A(flopenr_c_1x, metal1, 47.4, -1.2, 4.8, 2.4, 3, 2, 2.4, 27)
A(flopenr_c_1x, metal1, 0, -0.6, 1.2, 1.2, 23, 1, 2.4, 0)
A(flopenr_c_1x, metal1, 16.8, 2.4, 1.2, 1.8, 5, 1, 2.4, 0)
A(flopenr_c_1x, metal1, 31.2, 2.4, 1.2, 1.8, 3, 1, 2.4, 0)
A(flopenr_c_1x, metal1, 40.8, 2.4, 1.2, 1.8, 5, 1, 2.4, 0)
A(flopenr_c_1x, metal1, 14.4, 12.9, 1.2, 1.2, 3, 1, 7.2, 0)
A(flopenr_c_1x, metal1, 16.8, 22.2, 1.2, 2.7, 3, 1, 2.4, 0)
A(flopenr_c_1x, metal1, 40.8, 22.2, 1.2, 2.7, 5, 1, 2.4, 0)
A(flopenr_c_1x, metal1, -0.6, 25.8, 4.8, 2.4, 3, 1, 7.2, 0)
A(flopenr_c_1x, metal1, 16.2, 25.8, 4.8, 2.4, 3, 1, 2.4, 0)
A(flopenr_c_1x, metal1, 28.2, 25.8, 4.8, 2.4, 6, 1, 2.4, 0)
A(flopenr_c_1x, metal1, 0, 26.4, 1.2, 1.2, 4, 1, 2.4, 0)
A(flopenr_c_1x, metal1, 9.6, 26.4, 1.2, 1.2, 14, 1, 2.4, 0)
A(flopenr_c_1x, metal1, 40.8, 26.4, 1.2, 1.2, 5, 1, 2.4, 0)
R(flopenr_c_1x, metal1, [(-0.6,-1.2,4.2,1.2), (-0.6,-1.2,1.8,1.2), (13.8,-1.2,16.8,1.2), (18.6,-1.2,33,1.2), (21,-1.2,33,1.2), (30.6,-1.2,34.2,1.2), (2.4,-0.6,3.6,3.6), (19.2,-0.6,20.4,3.6), (31.2,-0.6,32.4,3.6), (40.8,-0.6,42,3.6), (48,-0.6,49.2,3.6), (52.8,-0.6,54,0.6), (52.8,-0.6,54,0.6), (52.8,-0.6,54,3.3), (55.2,-0.6,56.4,0.6), (52.8,2.1,54,4.2), (55.2,2.1,56.4,4.2), (0,2.4,1.2,4.2), (2.4,2.4,3.6,9.6), (4.8,2.4,14.1,3.6), (4.8,2.4,6,9.6), (12.9,2.4,14.1,5.7), (0,2.7,1.2,4.2), (16.8,2.7,18,4.2), (26.4,2.7,27.6,4.2), (0,3,1.2,4.2), (16.8,3,18,4.2), (21.6,3,22.8,4.2), (21.6,3,22.8,4.2), (24,3,25.2,4.2), (24,3,25.2,4.2), (26.4,3,27.6,4.2), (33.6,3,34.8,4.2), (33.6,3,34.8,4.2), (36,3,37.2,4.2), (36,3,37.2,4.2), (43.2,3,44.4,4.2), (43.2,3,44.4,4.2), (45.6,3,46.8,8.4), (50.4,3,51.6,4.2), (50.4,3,51.6,4.2), (55.2,3,56.4,12.6), (9,4.5,10.2,6.3), (12.9,4.5,14.1,6.3), (9,4.8,10.2,7.8), (25.2,5.1,26.4,6.3), (25.2,5.1,30,6.3), (28.8,5.1,30,6.3), (34.8,5.1,36,6.3), (34.8,5.1,39.6,6.3), (38.4,5.1,39.6,8.4), (9,6.6,10.8,7.8), (9.6,6.6,10.8,7.8), (26.4,7.2,27.6,8.4), (26.4,7.2,33,8.4), (31.8,7.2,33,8.4), (38.4,7.2,39.6,8.4), (38.4,7.2,46.8,8.4), (45.6,7.2,46.8,8.4), (12,7.8,13.2,9), (12,7.8,13.5,9), (12.3,7.8,13.5,9), (48,8.7,49.2,9.9), (48,8.7,50.4,9.9), (49.2,8.7,50.4,9.9), (36,9.3,42.6,10.5), (41.4,9.3,42.6,10.5), (36,9.6,37.2,10.8), (14.7,9.9,15.9,11.1), (14.7,9.9,37.2,11.1), (2.4,10.5,3.6,14.1), (2.4,10.5,6.9,11.7), (5.7,10.5,6.9,11.7), (5.7,10.5,13.2,11.7), (12,10.5,13.2,14.7), (43.2,11.4,44.4,12.6), (43.2,11.4,54.3,12.6), (53.1,11.4,54.3,12.6), (55.2,11.4,56.4,12.6), (55.2,11.4,56.4,23.1), (0.9,12.9,2.1,14.1), (0.9,12.9,3.6,14.1), (2.4,12.9,3.6,14.1), (6,12.9,7.2,14.1), (6,12.9,8.4,14.1), (7.2,12.9,8.4,14.1), (14.4,12.9,15.6,14.1), (14.4,12.9,15.6,14.1), (21.6,12.9,30,14.1), (12,13.5,13.2,14.7), (3.6,15.9,4.8,17.1), (3.6,15.9,6,17.1), (3.6,15.9,14.1,17.1), (4.8,15.9,6,17.1), (12.9,15.9,14.1,17.1), (16.8,15.9,18,17.1), (16.8,15.9,21.6,17.1), (20.4,15.9,21.6,17.1), (20.4,15.9,26.4,17.1), (25.2,15.9,26.4,17.1), (34.8,15.9,36,17.1), (34.8,15.9,48,17.1), (46.8,15.9,48,17.1), (46.8,15.9,51.6,17.1), (50.4,15.9,51.6,17.1), (50.4,15.9,51.6,23.4), (3,18,13.2,19.2), (3,18,4.2,19.5), (12,18,13.2,19.2), (0,18.3,1.2,19.5), (0,18.3,4.2,19.5), (0,18.3,1.2,23.4), (3,18.3,4.2,19.5), (30.3,18.9,31.5,20.1), (30.3,18.9,34.8,20.1), (33.6,18.9,34.8,20.1), (33.6,18.9,34.8,23.4), (39.9,18.9,41.1,20.1), (39.9,18.9,44.4,20.1), (43.2,18.9,44.4,20.1), (43.2,18.9,44.4,23.4), (12.6,20.1,13.8,22.2), (12.6,20.1,25.2,21.3), (24,20.1,25.2,21.3), (24,20.1,25.2,24.3), (6.3,21,10.8,22.2), (6.3,21,7.5,22.5), (9.6,21,10.8,22.2), (9.6,21,13.8,22.2), (12.6,21,13.8,24.6), (27.6,21,28.8,22.2), (27.6,21,30,22.2), (28.8,21,30,22.2), (37.2,21,38.4,22.2), (37.2,21,39.6,22.2), (38.4,21,39.6,22.2), (2.4,21.3,3.6,24.9), (6.3,21.3,7.5,24.9), (52.8,21.9,54,24.9), (55.2,21.9,56.4,24.9), (0,22.2,1.2,24.9), (16.8,22.2,18,23.4), (16.8,22.2,18,24.15), (21.6,22.2,22.8,23.4), (21.6,22.2,22.8,23.4), (31.2,22.2,32.4,24.9), (33.6,22.2,34.8,24.9), (45.6,22.2,46.8,23.4), (45.6,22.2,46.8,23.4), (10.2,23.1,11.4,24.9), (12.6,23.1,13.8,24.9), (24,23.1,25.2,24.9), (26.4,23.1,27.6,24.3), (26.4,23.1,27.6,24.3), (26.4,23.1,27.6,24.9), (36,23.1,37.2,24.3), (36,23.1,37.2,24.3), (36,23.1,37.2,24.9), (2.4,23.7,3.6,27.6), (10.2,23.7,11.4,27.6), (19.2,23.7,20.4,27.6), (31.2,23.7,32.4,27.6), (40.8,23.7,42,27.6), (48,23.7,49.2,27.6), (52.8,23.7,54,27.6), (-0.6,25.8,1.8,28.2), (1.8,25.8,9,28.2), (9,25.8,12,28.2), (9.6,25.8,16.2,28.2), (14.4,25.8,18.6,28.2), (18.6,25.8,30.6,28.2), (23.4,25.8,29.7,28.2), (25.8,25.8,29.7,28.2), (27.3,25.8,30.6,28.2), (30.6,25.8,49.8,28.2), (35.4,25.8,52.2,28.2), (37.8,25.8,49.8,28.2), (40.2,25.8,57,28.2), (47.4,25.8,57,28.2), (0,26.4,1.2,27.6), (4.8,26.4,8.4,27.6), (7.2,26.4,8.4,27.6), (9.6,26.4,10.8,27.6), (9.6,26.4,13.2,27.6), (50.4,26.4,51.6,27.6), (52.8,26.4,54,27.6), (52.8,26.4,54,27.6), (52.8,26.4,54,27.6), (55.2,26.4,56.4,27.6)])
A(flopenr_c_1x, via1, 21.9, 3.3, 0.6, 0.6, 3, 1, 2.4, 0)
A(flopenr_c_1x, via1, 36.3, 3.3, 0.6, 0.6, 3, 1, 7.2, 0)
A(flopenr_c_1x, via1, 7.5, 13.2, 0.6, 0.6, 4, 1, 7.2, 0)
R(flopenr_c_1x, via1, [(0.3,3.3,0.9,3.9), (17.1,3.3,17.7,3.9), (33.9,3.3,34.5,3.9), (29.1,5.4,29.7,6), (9.9,6.9,10.5,7.5), (26.7,7.5,27.3,8.1), (38.7,7.5,39.3,8.1), (45.9,7.5,46.5,8.1), (12.3,8.1,12.9,8.7), (48.3,9,48.9,9.6), (36.3,9.9,36.9,10.5), (43.5,11.7,44.1,12.3), (55.5,11.7,56.1,12.3), (2.7,13.2,3.3,13.8), (5.1,16.2,5.7,16.8), (17.1,16.2,17.7,16.8), (50.7,16.2,51.3,16.8), (12.3,18.3,12.9,18.9), (0.3,18.6,0.9,19.2), (33.9,19.2,34.5,19.8), (43.5,19.2,44.1,19.8), (24.3,20.4,24.9,21), (9.9,21.3,10.5,21.9), (29.1,21.3,29.7,21.9), (38.7,21.3,39.3,21.9), (17.1,22.5,17.7,23.1), (21.9,22.5,22.5,23.1), (45.9,22.5,46.5,23.1), (26.7,23.4,27.3,24), (36.3,23.4,36.9,24)])
A(flopenr_c_1x, metal2, 21.6, 3, 1.2, 1.2, 3, 1, 2.4, 0)
A(flopenr_c_1x, metal2, 36, 3, 1.2, 1.2, 3, 1, 7.2, 0)
A(flopenr_c_1x, metal2, 7.2, 12.9, 1.2, 1.2, 4, 1, 7.2, 0)
R(flopenr_c_1x, metal2, [(0,2.7,1.2,19.5), (0,3,1.2,4.2), (16.8,3,18,4.2), (16.8,3,18,17.1), (21.6,3,22.8,13.8), (24,3,25.2,21.3), (33.6,3,34.8,4.2), (33.6,3,34.8,20.1), (36,3,37.2,10.8), (43.2,3,44.4,12.9), (50.4,3,51.6,17.1), (26.4,3.3,27.6,8.4), (28.8,5.1,30,6.3), (28.8,5.1,30,14.4), (9.6,6.6,10.8,7.8), (9.6,6.6,10.8,22.2), (26.4,7.2,27.6,8.4), (26.4,7.2,27.6,24.3), (38.4,7.2,39.6,8.4), (38.4,7.2,39.6,22.2), (45.6,7.2,46.8,8.4), (45.6,7.2,46.8,23.4), (12,7.8,13.2,9), (12,7.8,13.2,19.2), (48,8.7,49.2,9.9), (36,9.6,37.2,10.8), (36,9.6,37.2,24.3), (43.2,11.4,44.4,12.6), (55.2,11.4,56.4,12.6), (43.2,11.7,44.4,20.1), (21.6,12.6,22.8,23.4), (2.4,12.9,3.6,14.1), (28.8,13.2,30,22.2), (4.8,15.9,6,17.1), (16.8,15.9,18,17.1), (16.8,15.9,18,23.4), (50.4,15.9,51.6,17.1), (12,18,13.2,19.2), (0,18.3,1.2,19.5), (33.6,18.9,34.8,20.1), (43.2,18.9,44.4,20.1), (24,20.1,25.2,21.3), (9.6,21,10.8,22.2), (28.8,21,30,22.2), (38.4,21,39.6,22.2), (16.8,22.2,18,23.4), (21.6,22.2,22.8,23.4), (45.6,22.2,46.8,23.4), (26.4,23.1,27.6,24.3), (36,23.1,37.2,24.3)])

combo_logic = lib.new_cell('combo_logic')
R(combo_logic, metal1, [(-0.6,-3.3,0.6,-2.1), (-0.6,-3.3,17.1,-2.1), (15.9,-3.3,17.1,-2.1), (-1.2,-1.2,22.8,1.2), (20.4,-1.2,25.2,1.2), (-1.2,25.8,22.8,28.2), (20.4,25.8,25.2,28.2)])
R(combo_logic, via1, [(-0.3,-3,0.3,-2.4), (16.2,-3,16.8,-2.4)])
R(combo_logic, metal2, [(-0.6,-3.3,0.6,-2.1), (15.9,-3.3,17.1,-2.1), (-0.6,-3,0.6,13.2), (15.9,-3,17.1,10.2), (11.1,-0.9,12.9,0.9), (25.5,-0.9,27.3,0.9), (11.4,-0.6,12.6,13.2), (25.8,-0.6,27,13.8), (21,11.4,22.2,27.6), (1.8,12,3,27.6), (30.6,12.9,31.8,27.6), (13.8,18.6,15,27.6), (1.5,26.1,3.3,27.9), (13.5,26.1,15.3,27.9), (20.7,26.1,22.5,27.9), (30.3,26.1,32.1,27.9)])
R(combo_logic, via2, [(11.7,-0.3,12.3,0.3), (26.1,-0.3,26.7,0.3), (2.1,26.7,2.7,27.3), (14.1,26.7,14.7,27.3), (21.3,26.7,21.9,27.3), (30.9,26.7,31.5,27.3)])
R(combo_logic, metal3, [(11.1,-0.9,12.9,0.9), (11.1,-0.9,27.3,0.9), (25.5,-0.9,27.3,0.9), (1.5,26.1,3.3,27.9), (1.5,26.1,15.3,27.9), (13.5,26.1,15.3,27.9), (20.7,26.1,22.5,27.9), (20.7,26.1,32.1,27.9), (30.3,26.1,32.1,27.9)])
combo_logic.add(gdstk.Reference(a22o2_1x, (-0.6,0)))
combo_logic.add(gdstk.Reference(and2_1x, (22.2,0), rotation=pi, x_reflection=True))
combo_logic.add(gdstk.Reference(flopenr_c_1x, (23.4,0)))

lib.write_gds('combo_logic.gds')
